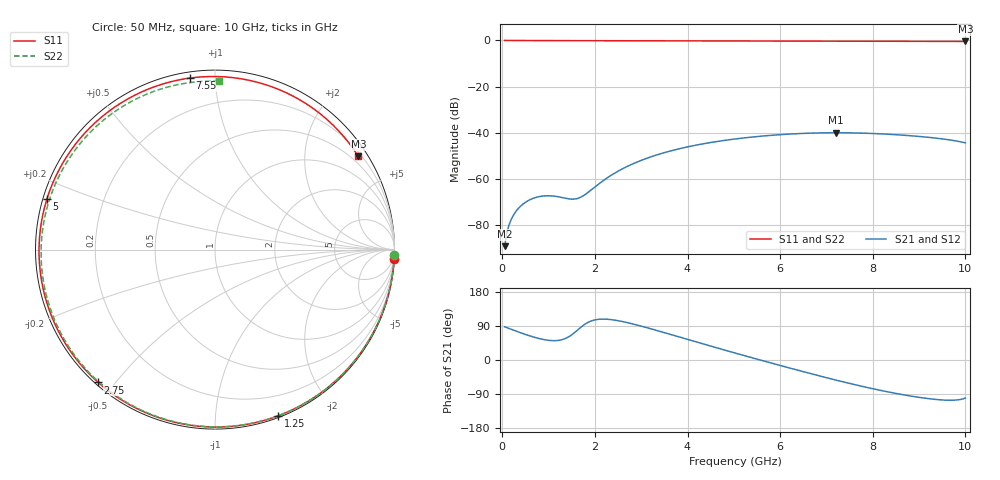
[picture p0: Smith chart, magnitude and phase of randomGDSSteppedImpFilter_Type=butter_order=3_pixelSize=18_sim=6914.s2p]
! freq	dB(S11)	phase(S11)	dB(S12)	phase(S12)
!  dB(S21)	phase(S21)	dB(S22)	phase(S22)
!S-par simulation data
#  GHz  S  DB  R 50
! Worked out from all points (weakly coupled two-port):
!   200 points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, 50 MHz to 10 GHz, reference 50 ohm
!   highest |S21| = -40.03 dB at 7.2 GHz (marker M1); lowest = -89.2 dB at 50 MHz (marker M2)
!   lowest |S11| = -0.4 dB at 10 GHz (marker M3), VSWR 40.97, Z = 15 + j168 ohm
!   |S11| at or under -10 dB: nowhere
!   |S22| runs from -0.6 to 0.0 dB; largest |S21 - S12| = 0
!   S11 on the Smith chart (normalised r, x): 50 MHz: 0, -38; 1.25 GHz: 0.01, -1.45; 2.75 GHz: 0.01, -0.45; 5 GHz: 0.01, +0.15; 7.55 GHz: 0.03, +0.86; 10 GHz: 0.30, +3.35
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0.05  -0.00 -3.0  -89.24 87.6  -89.24 87.6  -0.00 -1.8
0.15  -0.01 -8.9  -79.78 83.0  -79.78 83.0  -0.01 -5.4
0.25  -0.02 -14.7  -75.49 78.4  -75.49 78.4  -0.01 -9.0
0.35  -0.03 -20.5  -72.80 73.9  -72.80 73.9  -0.02 -12.6
0.6  -0.05 -34.8  -69.07 63.4  -69.07 63.4  -0.03 -21.5
0.9  -0.06 -51.2  -67.45 53.8  -67.45 53.8  -0.04 -32.0
1.25  -0.08 -69.2  -67.97 52.5  -67.97 52.5  -0.06 -44.1
1.55  -0.09 -83.6  -68.82 71.3  -68.82 71.3  -0.07 -54.1
1.75  -0.10 -92.5  -67.36 91.6  -67.36 91.6  -0.07 -60.7
2.3  -0.12 -115.0  -59.15 107.2  -59.15 107.2  -0.09 -78.0
2.75  -0.13 -131.3  -54.16 97.2  -54.16 97.2  -0.11 -91.4
3.4  -0.14 -152.4  -49.25 75.7  -49.25 75.7  -0.13 -109.7
4.15  -0.16 -174.1  -45.54 49.0  -45.54 49.0  -0.16 -129.3
5  -0.19 163.3  -42.81 19.3  -42.81 19.3  -0.20 -150.2
5.05  -0.20 162.0  -42.68 17.6  -42.68 17.6  -0.20 -151.4
5.85  -0.23 141.7  -41.08 -9.4  -41.08 -9.4  -0.25 -170.1
6.7  -0.26 120.2  -40.18 -37.2  -40.18 -37.2  -0.30 170.2
7.2  -0.29 107.4  -40.03 -52.8  -40.03 -52.8  -0.34 158.6
7.55  -0.30 98.4  -40.09 -63.3  -40.09 -63.3  -0.36 150.4
8.35  -0.34 77.4  -40.70 -84.7  -40.70 -84.7  -0.43 131.1
9.2  -0.38 54.6  -42.01 -101.9  -42.01 -101.9  -0.49 109.7
10  -0.42 33.0  -44.42 -100.3  -44.42 -100.3  -0.56 88.6
